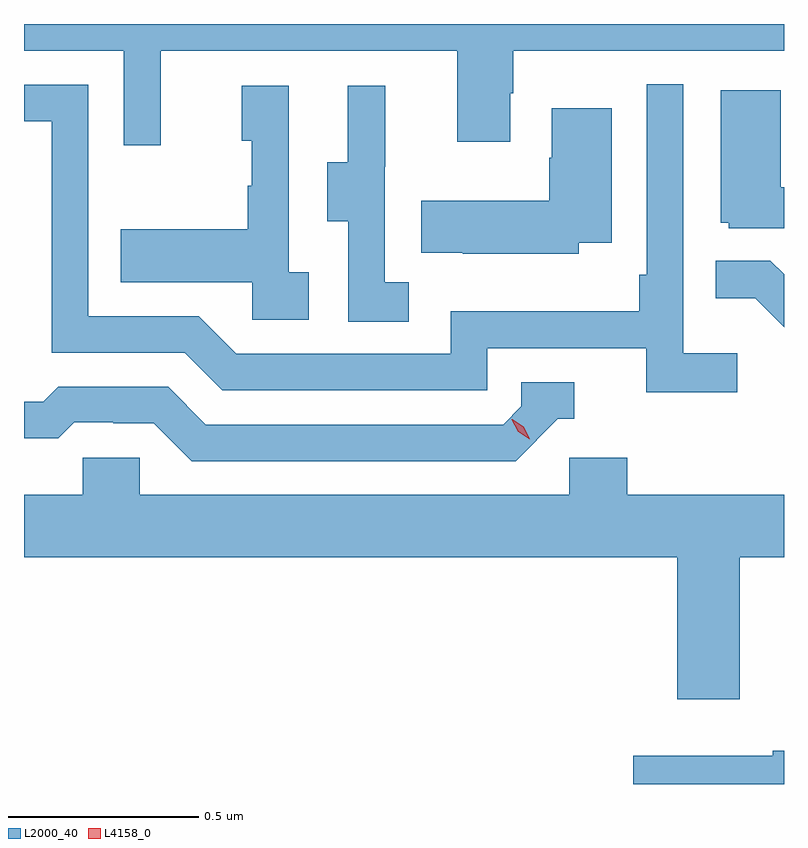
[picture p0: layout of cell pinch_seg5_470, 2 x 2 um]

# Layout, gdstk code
import gdstk
lib = gdstk.Library(unit=1e-6, precision=1e-09)
def P(c, l, *ps):  # polygons
    for p in ps: c.add(gdstk.Polygon(p, *l))
L2000_40 = (2000, 40)
L4158_0 = (4158, 0)

pinch_seg5_470 = lib.new_cell('pinch_seg5_470')
P(pinch_seg5_470, L2000_40, [(942.869,862.088),(943.649,862.088),(943.649,861.849),(943.789,861.849),(943.789,861.977),(943.797,861.977),(943.797,862.088),(944.509,862.088),(944.509,862.159),(942.509,862.159),(942.509,862.088),(942.771,862.088),(942.771,861.84),(942.869,861.84)],
  [(944.386,861.292),(944.244,861.292),(944.244,862),(944.148,862),(944.148,861.499),(944.128,861.499),(944.128,861.403),(943.632,861.403),(943.632,861.291),(943.068,861.291),(942.969,861.39),(942.678,861.39),(942.678,861.999),(942.509,861.999),(942.509,861.903),(942.582,861.903),(942.582,861.294),(942.932,861.294),(943.031,861.195),(943.728,861.195),(943.728,861.306),(944.147,861.306),(944.147,861.19),(944.386,861.19)],
  [(943.258,861.506),(943.206,861.506),(943.206,861.997),(943.082,861.997),(943.082,861.852),(943.108,861.852),(943.108,861.734),(943.098,861.734),(943.098,861.619),(942.763,861.619),(942.763,861.479),(943.11,861.479),(943.11,861.381),(943.258,861.381)],
  [(943.522,861.479),(943.458,861.479),(943.458,861.783),(943.46,861.783),(943.46,861.997),(943.361,861.997),(943.361,861.795),(943.307,861.795),(943.307,861.64),(943.362,861.64),(943.362,861.376),(943.522,861.376)],
  [(944.509,861.73),(944.5,861.73),(944.5,861.985),(944.342,861.985),(944.342,861.636),(944.364,861.636),(944.364,861.621),(944.509,861.621)],
  [(943.969,861.584),(944.056,861.584),(944.056,861.937),(943.898,861.937),(943.898,861.807),(943.891,861.807),(943.891,861.694),(943.555,861.694),(943.555,861.557),(943.663,861.557),(943.663,861.554),(943.969,861.554)],
  [(944.509,861.5),(944.473,861.536),(944.329,861.536),(944.329,861.437),(944.433,861.437),(944.509,861.361)],
  [(943.914,861.12),(943.957,861.12),(943.957,861.216),(943.818,861.216),(943.818,861.153),(943.77,861.105),(942.987,861.105),(942.888,861.204),(942.599,861.204),(942.56,861.165),(942.509,861.165),(942.509,861.069),(942.599,861.069),(942.641,861.111),(942.744,861.111),(942.744,861.108),(942.851,861.108),(942.95,861.009),(943.803,861.009)],
  [(944.392,860.756),(944.509,860.756),(944.509,860.92),(944.096,860.92),(944.096,861.018),(943.944,861.018),(943.944,860.92),(942.813,860.92),(942.813,861.018),(942.663,861.018),(942.663,860.92),(942.509,860.92),(942.509,860.756),(944.228,860.756),(944.228,860.382),(944.392,860.382)],
  [(944.509,860.246),(944.48,860.246),(944.48,860.233),(944.112,860.233),(944.112,860.159),(944.509,860.159)])
P(pinch_seg5_470, L4158_0, [(943.84,861.066),(943.809,861.086),(943.793,861.118),(943.793,861.119),(943.794,861.119),(943.824,861.099),(943.84,861.066),(943.84,861.066)])

lib.write_gds('pinch_seg5_470.gds')
